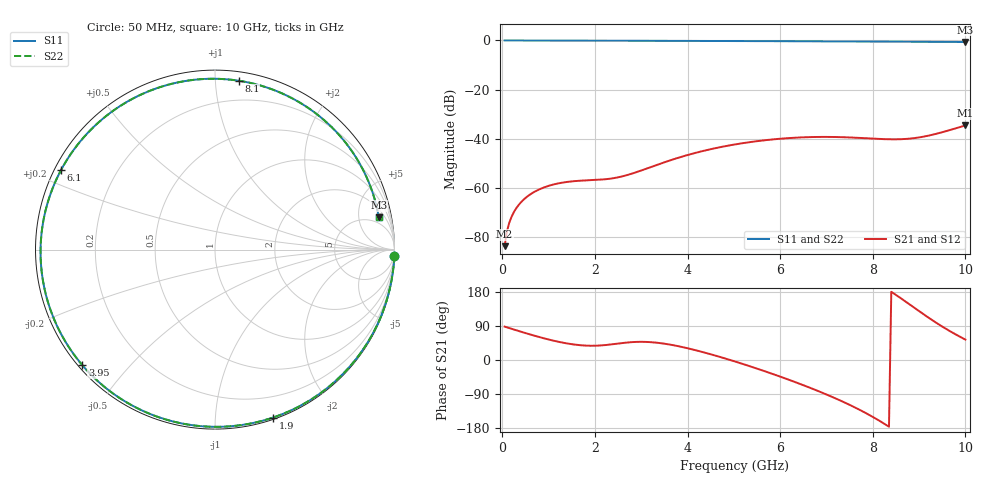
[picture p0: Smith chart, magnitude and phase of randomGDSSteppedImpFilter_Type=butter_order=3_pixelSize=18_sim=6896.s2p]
! freq	dB(S11)	phase(S11)	dB(S12)	phase(S12)
!  dB(S21)	phase(S21)	dB(S22)	phase(S22)
!S-par simulation data
#  GHz  S  DB  R 50
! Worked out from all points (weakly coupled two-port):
!   200 points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, 50 MHz to 10 GHz, reference 50 ohm
!   highest |S21| = -34.64 dB at 10 GHz (marker M1); lowest = -83.8 dB at 50 MHz (marker M2)
!   lowest |S11| = -0.6 dB at 10 GHz (marker M3), VSWR 27.52, Z = 169 + j449 ohm
!   |S11| at or under -10 dB: nowhere
!   |S22| runs from -0.6 to 0.0 dB; largest |S21 - S12| = 0
!   S11 on the Smith chart (normalised r, x): 50 MHz: 0, -59; 1.9 GHz: 0.01, -1.40; 3.95 GHz: 0.01, -0.37; 6.1 GHz: 0.02, +0.24; 8.1 GHz: 0.06, +1.15; 10 GHz: 3.38, +8.98
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0.05  -0.00 -2.0  -83.83 88.1  -83.83 88.1  -0.00 -2.0
0.15  -0.01 -5.8  -74.32 84.2  -74.32 84.2  -0.01 -5.8
0.25  -0.01 -9.7  -69.94 80.4  -69.94 80.4  -0.01 -9.7
0.4  -0.02 -15.4  -66.00 74.7  -66.00 74.7  -0.02 -15.4
0.55  -0.03 -21.2  -63.45 69.2  -63.45 69.2  -0.03 -21.2
1.05  -0.05 -40.0  -58.97 52.6  -58.97 52.6  -0.05 -40.0
1.75  -0.08 -65.6  -57.08 38.4  -57.08 38.4  -0.08 -65.6
1.9  -0.09 -71.0  -56.95 37.6  -56.95 37.6  -0.09 -71.0
2.65  -0.12 -96.8  -55.10 45.5  -55.10 45.5  -0.12 -96.8
3.4  -0.15 -121.4  -50.30 44.7  -50.30 44.7  -0.15 -121.4
3.95  -0.17 -138.9  -46.96 32.5  -46.96 32.5  -0.17 -138.9
4.5  -0.20 -156.2  -44.31 15.2  -44.31 15.2  -0.20 -156.2
5.05  -0.24 -173.5  -42.28 -4.9  -42.28 -4.9  -0.24 -173.5
5.6  -0.27 169.0  -40.81 -26.8  -40.81 -26.8  -0.27 169.0
6.1  -0.30 152.7  -39.90 -48.2  -39.90 -48.2  -0.30 152.7
6.7  -0.35 132.5  -39.35 -76.0  -39.35 -76.0  -0.35 132.5
7.45  -0.40 106.0  -39.48 -115.5  -39.48 -115.5  -0.40 106.0
8.1  -0.44 82.0  -40.10 -157.2  -40.10 -157.2  -0.44 82.1
8.35  -0.46 72.7  -40.27 -176.1  -40.27 -176.1  -0.46 72.7
8.8  -0.49 55.7  -40.00 146.3  -40.00 146.3  -0.49 55.7
9.25  -0.53 38.7  -38.59 107.9  -38.59 107.9  -0.53 38.7
10  -0.63 11.2  -34.64 53.9  -34.64 53.9  -0.63 11.2
